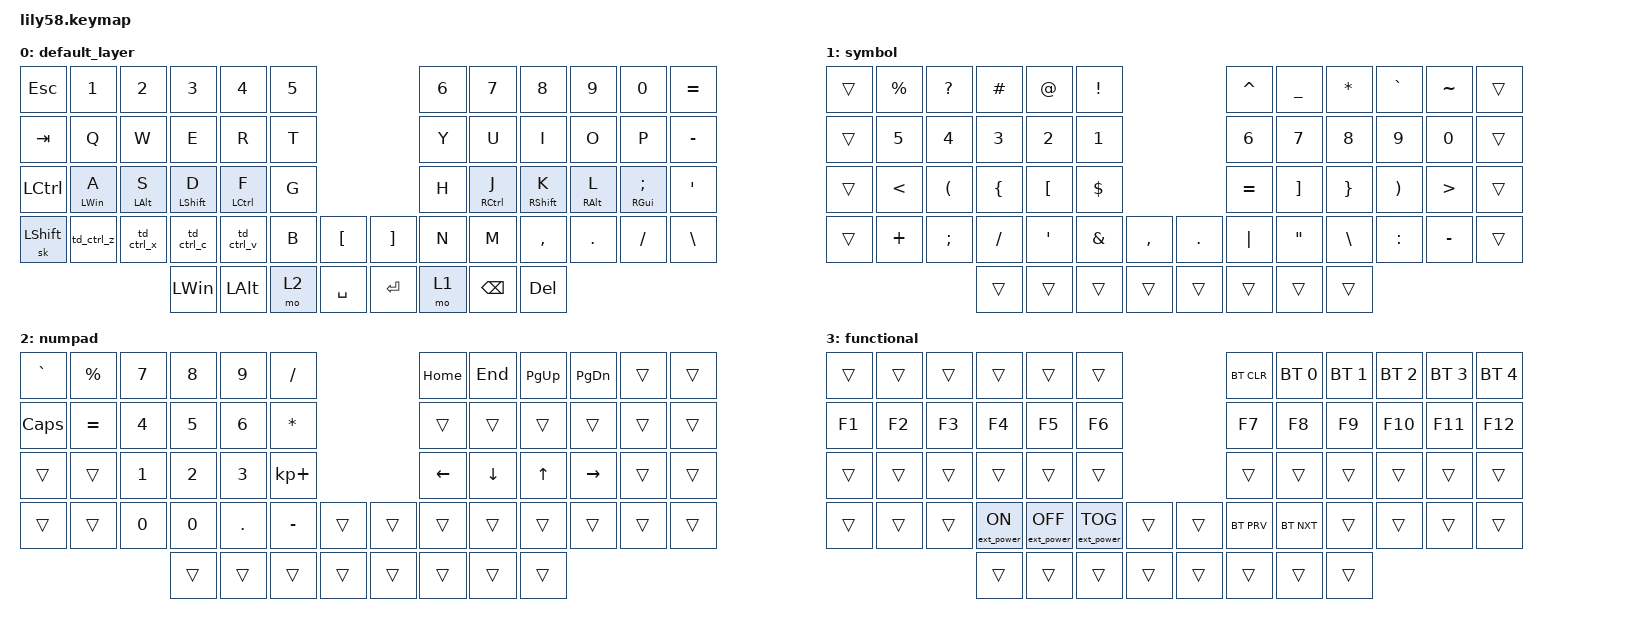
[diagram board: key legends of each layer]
/*
 * Copyright (c) 2020 The ZMK Contributors
 *
 * SPDX-License-Identifier: MIT
 */

#include <behaviors.dtsi>
#include <dt-bindings/zmk/bt.h>
#include <dt-bindings/zmk/ext_power.h>
#include <dt-bindings/zmk/keys.h>

/ {
    behaviors {
        td_ctrl_c: td_ctrl_c {
            compatible = "zmk,behavior-tap-dance";
            label = "TD_CTRL_C";
            #binding-cells = <0>;
            bindings = <&kp C>, <&kp LC(C)>;
        };

        td_ctrl_x: td_ctrl_x {
            compatible = "zmk,behavior-tap-dance";
            label = "TD_CTRL_X";
            #binding-cells = <0>;
            bindings = <&kp X>, <&kp LC(X)>;
        };

        td_ctrl_v: td_ctrl_v {
            compatible = "zmk,behavior-tap-dance";
            label = "TD_CTRL_V";
            #binding-cells = <0>;
            bindings = <&kp V>, <&kp LC(V)>;
        };

        td_ctrl_z: td_ctrl_z {
            compatible = "zmk,behavior-tap-dance";
            label = "TD_CTRL_Z";
            #binding-cells = <0>;
            bindings = <&kp Z>, <&kp LC(Z)>;
        };

        ht_left: ht_left {
            compatible = "zmk,behavior-hold-tap";
            label = "HT_LEFT";
            bindings = <&kp>, <&kp>;

            #binding-cells = <2>;
            tapping-term-ms = <280>;
            hold-trigger-key-positions = <6 7 8 9 10 11 18 19 20 21 22 23 30 31 32 33 34 35 43 44 45 46 47 48 49 54 55 56 57>;
            flavor = "tap-preferred";
        };

        ht_right: ht_right {
            compatible = "zmk,behavior-hold-tap";
            label = "HT_RIGHT";
            bindings = <&kp>, <&kp>;

            #binding-cells = <2>;
            tapping-term-ms = <280>;
            flavor = "tap-preferred";
            hold-trigger-key-positions = <0 1 2 3 4 5 12 13 14 15 16 17 24 25 26 27 28 29 36 37 38 39 40 41 42 50 51 52 53>;
        };
    };

    keymap {
        compatible = "zmk,keymap";

        default_layer {
            // ------------------------------------------------------------------------------------------------------------
            // |  ESC  |  1  |  2  |  3   |  4   |  5   |                   |  6   |  7    |  8    |  9   |   0   |   =+  |
            // |  TAB  |  Q  |  W  |  E   |  R   |  T   |                   |  Y   |  U    |  I    |  O   |   P   |   -   |
            // | SHIFT |  A  |  S  |  D   |  F   |  G   |                   |  H   |  J    |  K    |  L   |   ;   |   '   |
            // |  CTRL |  Z  |  X  |  C   |  V   |  B   |   "["  |  |  "]"  |  N   |  M    |  ,    |  .   |   /   |   \   |
            //                     | LOWER|  GUI | ALT  |  SPACE |  | ENTER | RAISE| BSPC  | DEL   |

            bindings = <
&kp ESC         &kp N1               &kp N2               &kp N3                 &kp N4            &kp N5                         &kp N6  &kp N7             &kp N8                   &kp N9                 &kp N0                    &kp EQUAL
&kp TAB         &kp Q                &kp W                &kp E                  &kp R             &kp T                          &kp Y   &kp U              &kp I                    &kp O                  &kp P                     &kp MINUS
&kp LCTRL       &ht_left LEFT_WIN A  &ht_left LEFT_ALT S  &ht_left LEFT_SHIFT D  &ht_left LCTRL F  &kp G                          &kp H   &ht_right RCTRL J  &ht_right RIGHT_SHIFT K  &ht_right RIGHT_ALT L  &ht_right RIGHT_GUI SEMI  &kp SQT
&sk LEFT_SHIFT  &td_ctrl_z           &td_ctrl_x           &td_ctrl_c             &td_ctrl_v        &kp B   &kp LBKT     &kp RBKT  &kp N   &kp M              &kp COMMA                &kp DOT                &kp FSLH                  &kp BSLH
                                                          &kp LEFT_WIN           &kp LEFT_ALT      &mo 2   &kp SPACE    &kp RET   &mo 1   &kp BACKSPACE      &kp DELETE
            >;
        };

        symbol {
            bindings = <
&trans  &kp PERCENT    &kp QUESTION          &kp HASH        &kp AT_SIGN       &kp EXCLAMATION                        &kp CARET     &kp UNDERSCORE     &kp ASTRK        &kp GRAVE              &kp TILDE         &trans
&trans  &kp NUMBER_5   &kp NUMBER_4          &kp NUMBER_3    &kp NUMBER_2      &kp NUMBER_1                           &kp NUMBER_6  &kp NUMBER_7       &kp NUMBER_8     &kp NUMBER_9           &kp NUMBER_0      &trans
&trans  &kp LESS_THAN  &kp LEFT_PARENTHESIS  &kp LEFT_BRACE  &kp LBKT          &kp DOLLAR                             &kp EQUAL     &kp RBKT           &kp RIGHT_BRACE  &kp RIGHT_PARENTHESIS  &kp GREATER_THAN  &trans
&trans  &kp PLUS       &kp SEMICOLON         &kp SLASH       &kp SINGLE_QUOTE  &kp AMPERSAND    &kp COMMA    &kp DOT  &kp PIPE      &kp DOUBLE_QUOTES  &kp BSLH         &kp COLON              &kp MINUS         &trans
                                             &trans          &trans            &trans           &trans       &trans   &trans        &trans             &trans
            >;
        };

        numpad {
            // ------------------------------------------------------------------------------------------------------------
            // |  `    |  %  |  7  |  8   |  9   |  /   |                   |      |       |       |      |       | PSCR  |
            // | Caps  |  =  |  4  |  5   |  6   |  *   |                   |      |       |       |      | PG UP | PG DN |
            // |       |     |  1  |  2   |  3   |  +   |                   |  <-  |   v   |  ^    |  ->  | Home  |  END  |
            // |       |     |  0  |  0   |  .   |  -   |        |  |       |      |       |       |      |       |       |
            //                     |      |      |      |        |  |       |      |       |       |

            bindings = <
&kp GRAVE  &kp PRCNT  &kp N7  &kp N8  &kp N9   &kp FSLH                       &kp HOME  &kp END   &kp PAGE_UP  &kp PAGE_DOWN  &trans  &trans
&kp CAPS   &kp EQUAL  &kp N4  &kp N5  &kp N6   &kp ASTRK                      &trans    &trans    &trans       &trans         &trans  &trans
&trans     &trans     &kp N1  &kp N2  &kp N3   &kp KP_PLUS                    &kp LEFT  &kp DOWN  &kp UP       &kp RIGHT      &trans  &trans
&trans     &trans     &kp N0  &kp N0  &kp DOT  &kp MINUS    &trans    &trans  &trans    &trans    &trans       &trans         &trans  &trans
                              &trans  &trans   &trans       &trans    &trans  &trans    &trans    &trans
            >;
        };

        functional {
            bindings = <
&trans  &trans  &trans  &trans            &trans             &trans                               &bt BT_CLR  &bt BT_SEL 0  &bt BT_SEL 1  &bt BT_SEL 2  &bt BT_SEL 3  &bt BT_SEL 4
&kp F1  &kp F2  &kp F3  &kp F4            &kp F5             &kp F6                               &kp F7      &kp F8        &kp F9        &kp F10       &kp F11       &kp F12
&trans  &trans  &trans  &trans            &trans             &trans                               &trans      &trans        &trans        &trans        &trans        &trans
&trans  &trans  &trans  &ext_power EP_ON  &ext_power EP_OFF  &ext_power EP_TOG  &trans    &trans  &bt BT_PRV  &bt BT_NXT    &trans        &trans        &trans        &trans
                        &trans            &trans             &trans             &trans    &trans  &trans      &trans        &trans
            >;
        };
    };

    conditional_layers {
        compatible = "zmk,conditional-layers";

        functional_layer {
            if-layers = <2 1>;
            then-layer = <3>;
        };
    };
};
